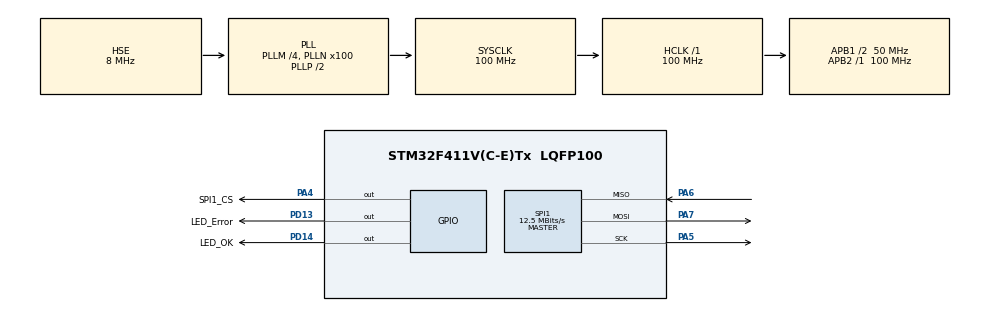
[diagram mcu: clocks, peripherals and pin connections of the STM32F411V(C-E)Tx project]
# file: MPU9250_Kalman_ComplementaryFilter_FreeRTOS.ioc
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FREERTOS.Tasks01=defaultTask,0,128,StartDefaultTask,Default,NULL,Dynamic,NULL,NULL
FREERTOS.configTOTAL_HEAP_SIZE=9000
FREERTOS.configUSE_NEWLIB_REENTRANT=1
Mcu.Family=STM32F4
Mcu.Name=STM32F411V(C-E)Tx
Mcu.Package=LQFP100
NVIC.PriorityGroup=NVIC_PRIORITYGROUP_4
NVIC.TIM1_UP_TIM10_IRQn=true\:15\:0\:false\:false\:true\:false\:false\:true\:true
NVIC.TimeBase=TIM1_UP_TIM10_IRQn
NVIC.TimeBaseIP=TIM10
PA13.Mode=Trace_Asynchronous_SW
PA13.Signal=SYS_JTMS-SWDIO
PA14.Mode=Trace_Asynchronous_SW
PA14.Signal=SYS_JTCK-SWCLK
PA4.GPIO_Label=SPI1_CS
PA4.Signal=GPIO_Output
PA5.Mode=Full_Duplex_Master
PA5.Signal=SPI1_SCK
PA6.Mode=Full_Duplex_Master
PA6.Signal=SPI1_MISO
PA7.Mode=Full_Duplex_Master
PA7.Signal=SPI1_MOSI
PB3.Mode=Trace_Asynchronous_SW
PB3.Signal=SYS_JTDO-SWO
PD13.GPIO_Label=LED_Error
PD13.Signal=GPIO_Output
PD14.GPIO_Label=LED_OK
PD14.Signal=GPIO_Output
PH0\ -\ OSC_IN.Mode=HSE-External-Oscillator
PH0\ -\ OSC_IN.Signal=RCC_OSC_IN
PH1\ -\ OSC_OUT.Mode=HSE-External-Oscillator
PH1\ -\ OSC_OUT.Signal=RCC_OSC_OUT
ProjectManager.HeapSize=0x200
ProjectManager.StackSize=0x400
ProjectManager.TargetToolchain=STM32CubeIDE
RCC.48MHZClocksFreq_Value=50000000
RCC.AHBFreq_Value=100000000
RCC.APB1CLKDivider=RCC_HCLK_DIV2
RCC.APB1Freq_Value=50000000
RCC.APB1TimFreq_Value=100000000
RCC.APB2Freq_Value=100000000
RCC.APB2TimFreq_Value=100000000
RCC.CortexFreq_Value=100000000
RCC.HCLKFreq_Value=100000000
RCC.HSE_VALUE=8000000
RCC.HSI_VALUE=16000000
RCC.LSE_VALUE=32768
RCC.PLLM=4
RCC.PLLN=100
RCC.PLLSourceVirtual=RCC_PLLSOURCE_HSE
RCC.SYSCLKFreq_VALUE=100000000
RCC.SYSCLKSource=RCC_SYSCLKSOURCE_PLLCLK
RCC.VCOOutputFreq_Value=200000000
SPI1.BaudRatePrescaler=SPI_BAUDRATEPRESCALER_8
SPI1.CalculateBaudRate=12.5 MBits/s
SPI1.Direction=SPI_DIRECTION_2LINES
SPI1.Mode=SPI_MODE_MASTER
SPI1.VirtualType=VM_MASTER
VP_FREERTOS_VS_CMSIS_V1.Mode=CMSIS_V1
VP_SYS_VS_tim10.Mode=TIM10
board=custom

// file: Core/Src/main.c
/* USER CODE BEGIN Header */
/**
  ******************************************************************************
  * @file           : main.c
  * @brief          : Main program body
  ******************************************************************************
  * @attention
  *
  * Copyright (c) 2025 STMicroelectronics.
  * All rights reserved.
  *
  * This software is licensed under terms that can be found in the LICENSE file
  * in the root directory of this software component.
  * If no LICENSE file comes with this software, it is provided AS-IS.
  *
  ******************************************************************************
  */
/* USER CODE END Header */
#include "main.h"
#include "cmsis_os.h"

/* USER CODE BEGIN Includes */
#include "HAL_MPU9250.h"
#include "IMU_KalmanFilter.h"
#include "IMU_ComplementaryFilter.h"

#include "stdio.h"
#include "string.h"
#include "math.h"
/* USER CODE END Includes */

/* USER CODE BEGIN PD */
#define KalmanFilter_En					0x00
#define ComplementaryFilter_En			0x01
#define N_KalmanFilter					100
#define N_ComplementaryFilter			200

// <---- --- IMU Defines --- ---->
#define ZERO_MAX				20
#define ZERO_MIN				-20
/* USER CODE END PD */

SPI_HandleTypeDef hspi1;

osThreadId defaultTaskHandle;
/* USER CODE BEGIN PV */
// <---- --- My Tasks Variables --- ---->
osThreadId readRawDataTaskHandle;
osThreadId kalmanFilterTaskHandle;
osThreadId complementaryFilterTaskHandle;

osMessageQId Queue_1Handle;

// <---- --- IMU Variables --- ---->
MPU9250TypeDef MPU9250;
KalmanFilter kf;
ComplementaryFilter cf;

uint8_t IMU_rawData[14] = {0};
typedef struct
{
	int16_t Raw_Accel[3];
	int16_t Raw_Gyro[3];
}IMUdata_t;

float GX = 0, GY = 0, GZ = 0, AX = 0, AY = 0, AZ = 0;
float phi, theta;
float phi_acc_samples[N_KalmanFilter];
float theta_acc_samples[N_KalmanFilter];
/* USER CODE END PV */

void SystemClock_Config(void);
static void MX_GPIO_Init(void);
static void MX_SPI1_Init(void);
void StartDefaultTask(void const * argument);

/* USER CODE BEGIN PFP */
// <---- --- My Tasks Functions --- ---->
void StartReadRawDataTask(void const * argument);
void StartKalmanFilterTask(void const * argument);
void StartComplementaryFilterTask(void const * argument);

// <---- --- IMU Functions --- ---->
void IMU_Init(void);
void IMU_readRawData(void);
void KalmanFilter_Init(void);
void IMU_UpdateAngles(float dt);
/* USER CODE END PFP */

/* USER CODE BEGIN 0 */
// <---- --- SWV Print --- ---->
int _write(int file, char *ptr, int len)
{
	int i = 0;
	for(i = 0; i < len; i++)
	{
		ITM_SendChar(*ptr++);
	}
	return len;
}
/* USER CODE END 0 */

int main(void)
{

  /* MCU Configuration--------------------------------------------------------*/

  /* Reset of all peripherals, Initializes the Flash interface and the Systick. */
  HAL_Init();

  /* Configure the system clock */
  SystemClock_Config();

  /* Initialize all configured peripherals */
  MX_GPIO_Init();
  MX_SPI1_Init();

  /* USER CODE BEGIN RTOS_QUEUES */
  /* add queues, ... */
  osMessageQDef(Queue_1, 1, sizeof(IMUdata_t));
  Queue_1Handle = osMessageCreate(osMessageQ(Queue_1), NULL);
  /* USER CODE END RTOS_QUEUES */

  /* Create the thread(s) */
  /* definition and creation of defaultTask */
  osThreadDef(defaultTask, StartDefaultTask, osPriorityNormal, 0, 128);
  defaultTaskHandle = osThreadCreate(osThread(defaultTask), NULL);

  /* USER CODE BEGIN RTOS_THREADS */
  /* add threads, ... */
  osThreadDef(readRawDataTask, StartReadRawDataTask, osPriorityAboveNormal, 0, 1024);
  readRawDataTaskHandle = osThreadCreate(osThread(readRawDataTask), NULL);
#if KalmanFilter_En
  osThreadDef(kalmanFilterTask, StartKalmanFilterTask, osPriorityNormal, 0, 1024);
  kalmanFilterTaskHandle = osThreadCreate(osThread(kalmanFilterTask), NULL);
#elif ComplementaryFilter_En
  osThreadDef(complementaryFilterTask, StartComplementaryFilterTask, osPriorityNormal, 0, 1024);
  complementaryFilterTaskHandle = osThreadCreate(osThread(complementaryFilterTask), NULL);
#endif
  /* USER CODE END RTOS_THREADS */

  /* Start scheduler */
  osKernelStart();

  /* We should never get here as control is now taken by the scheduler */

  /* Infinite loop */
  while (1)
  {

  }
}

void SystemClock_Config(void)
{
  RCC_OscInitTypeDef RCC_OscInitStruct = {0};
  RCC_ClkInitTypeDef RCC_ClkInitStruct = {0};

  /** Configure the main internal regulator output voltage
  */
  __HAL_RCC_PWR_CLK_ENABLE();
  __HAL_PWR_VOLTAGESCALING_CONFIG(PWR_REGULATOR_VOLTAGE_SCALE1);

  /** Initializes the RCC Oscillators according to the specified parameters
  * in the RCC_OscInitTypeDef structure.
  */
  RCC_OscInitStruct.OscillatorType = RCC_OSCILLATORTYPE_HSE;
  RCC_OscInitStruct.HSEState = RCC_HSE_ON;
  RCC_OscInitStruct.PLL.PLLState = RCC_PLL_ON;
  RCC_OscInitStruct.PLL.PLLSource = RCC_PLLSOURCE_HSE;
  RCC_OscInitStruct.PLL.PLLM = 4;
  RCC_OscInitStruct.PLL.PLLN = 100;
  RCC_OscInitStruct.PLL.PLLP = RCC_PLLP_DIV2;
  RCC_OscInitStruct.PLL.PLLQ = 4;
  if (HAL_RCC_OscConfig(&RCC_OscInitStruct) != HAL_OK)
  {
    Error_Handler();
  }

  /** Initializes the CPU, AHB and APB buses clocks
  */
  RCC_ClkInitStruct.ClockType = RCC_CLOCKTYPE_HCLK|RCC_CLOCKTYPE_SYSCLK
                              |RCC_CLOCKTYPE_PCLK1|RCC_CLOCKTYPE_PCLK2;
  RCC_ClkInitStruct.SYSCLKSource = RCC_SYSCLKSOURCE_PLLCLK;
  RCC_ClkInitStruct.AHBCLKDivider = RCC_SYSCLK_DIV1;
  RCC_ClkInitStruct.APB1CLKDivider = RCC_HCLK_DIV2;
  RCC_ClkInitStruct.APB2CLKDivider = RCC_HCLK_DIV1;

  if (HAL_RCC_ClockConfig(&RCC_ClkInitStruct, FLASH_LATENCY_3) != HAL_OK)
  {
    Error_Handler();
  }
}

static void MX_SPI1_Init(void)
{

  /* SPI1 parameter configuration*/
  hspi1.Instance = SPI1;
  hspi1.Init.Mode = SPI_MODE_MASTER;
  hspi1.Init.Direction = SPI_DIRECTION_2LINES;
  hspi1.Init.DataSize = SPI_DATASIZE_8BIT;
  hspi1.Init.CLKPolarity = SPI_POLARITY_LOW;
  hspi1.Init.CLKPhase = SPI_PHASE_1EDGE;
  hspi1.Init.NSS = SPI_NSS_SOFT;
  hspi1.Init.BaudRatePrescaler = SPI_BAUDRATEPRESCALER_8;
  hspi1.Init.FirstBit = SPI_FIRSTBIT_MSB;
  hspi1.Init.TIMode = SPI_TIMODE_DISABLE;
  hspi1.Init.CRCCalculation = SPI_CRCCALCULATION_DISABLE;
  hspi1.Init.CRCPolynomial = 10;
  if (HAL_SPI_Init(&hspi1) != HAL_OK)
  {
    Error_Handler();
  }

}

static void MX_GPIO_Init(void)
{
  GPIO_InitTypeDef GPIO_InitStruct = {0};

  /* GPIO Ports Clock Enable */
  __HAL_RCC_GPIOH_CLK_ENABLE();
  __HAL_RCC_GPIOA_CLK_ENABLE();
  __HAL_RCC_GPIOD_CLK_ENABLE();
  __HAL_RCC_GPIOB_CLK_ENABLE();

  /*Configure GPIO pin Output Level */
  HAL_GPIO_WritePin(SPI1_CS_GPIO_Port, SPI1_CS_Pin, GPIO_PIN_RESET);

  /*Configure GPIO pin Output Level */
  HAL_GPIO_WritePin(GPIOD, LED_Error_Pin|LED_OK_Pin, GPIO_PIN_RESET);

  /*Configure GPIO pin : SPI1_CS_Pin */
  GPIO_InitStruct.Pin = SPI1_CS_Pin;
  GPIO_InitStruct.Mode = GPIO_MODE_OUTPUT_PP;
  GPIO_InitStruct.Pull = GPIO_NOPULL;
  GPIO_InitStruct.Speed = GPIO_SPEED_FREQ_LOW;
  HAL_GPIO_Init(SPI1_CS_GPIO_Port, &GPIO_InitStruct);

  /*Configure GPIO pins : LED_Error_Pin LED_OK_Pin */
  GPIO_InitStruct.Pin = LED_Error_Pin|LED_OK_Pin;
  GPIO_InitStruct.Mode = GPIO_MODE_OUTPUT_PP;
  GPIO_InitStruct.Pull = GPIO_NOPULL;
  GPIO_InitStruct.Speed = GPIO_SPEED_FREQ_LOW;
  HAL_GPIO_Init(GPIOD, &GPIO_InitStruct);

}

/* USER CODE BEGIN 4 */
void IMU_Init(void)
{
	MPU9250.PWR_MGMT1	= CLKSEL_1;						// CLOCK_SEL_PLL
	MPU9250.PWR_MGMT2	= ENABLE_ALL;					// Enable All Sensors
	MPU9250.Gyro_DLPF   = BW250_D970;
	MPU9250.Accel_DLPF  = BW218_D1880;
	MPU9250.Gyro_Range  = MPU9250_Gyroscope_2000;
	MPU9250.Accel_Range = MPU9250_Accelerometer_16;

	if(MPU9250_Init(&hspi1, SPI1_CS_GPIO_Port, SPI1_CS_Pin, &MPU9250) != MPU9250_RESULT_OK)
	{
		Error_Handler();
	}
}

void IMU_readRawData(void)
{
	IMUdata_t data;
	// <---- ------------ Merging Data to get real IMU data ------------ ---->
	MPU9250_ReadData(&hspi1, IMU_rawData, MPU9250_ACCEL_XOUT_H, 6);
	data.Raw_Accel[0] = (int16_t)(IMU_rawData[0] << 8 | IMU_rawData[1]);
	data.Raw_Accel[1] = (int16_t)(IMU_rawData[2] << 8 | IMU_rawData[3]);
	data.Raw_Accel[2] = (int16_t)(IMU_rawData[4] << 8 | IMU_rawData[5]);

	MPU9250_ReadData(&hspi1, IMU_rawData, MPU9250_GYRO_XOUT_H, 6);
	data.Raw_Gyro[0] = (int16_t)(IMU_rawData[0] << 8 | IMU_rawData[1]);
	data.Raw_Gyro[1] = (int16_t)(IMU_rawData[2] << 8 | IMU_rawData[3]);
	data.Raw_Gyro[2] = (int16_t)(IMU_rawData[4] << 8 | IMU_rawData[5]);

	// <---- ------------ Removing Gyro's Noise around 0 state ------------ ---->
	data.Raw_Gyro[0] = (data.Raw_Gyro[0] <= ZERO_MAX && data.Raw_Gyro[0] >= ZERO_MIN)? 0: data.Raw_Gyro[0];
	data.Raw_Gyro[1] = (data.Raw_Gyro[1] <= ZERO_MAX && data.Raw_Gyro[1] >= ZERO_MIN)? 0: data.Raw_Gyro[1];
	data.Raw_Gyro[2] = (data.Raw_Gyro[2] <= ZERO_MAX && data.Raw_Gyro[2] >= ZERO_MIN)? 0: data.Raw_Gyro[2];

	GX = (float)(data.Raw_Gyro[0] * (2000 / 32768.0));
	GY = (float)(data.Raw_Gyro[1] * (2000 / 32768.0));
	GZ = (float)(data.Raw_Gyro[2] * (2000 / 32768.0));

	AX = (float)(data.Raw_Gyro[0] * (16.0 / 32768.0));
	AY = (float)(data.Raw_Gyro[1] * (16.0 / 32768.0));
	AZ = (float)(data.Raw_Gyro[2] * (16.0 / 32768.0));

	// <---- ------------ Converting Degree to Radian------------ ---->
//	GX = GX / (180.0 / M_PI);
//	GY = GY / (180.0 / M_PI);
//	GZ = GZ / (180.0 / M_PI);

//	printf("AX: %.2f \n", AX);
//	printf("AY: %.2f \n", AY);
//	printf("AZ: %.2f \n", AZ);
//
//	printf("GX: %.2f \n", GX);
//	printf("GY: %.2f \n", GY);
//	printf("GZ: %.2f \n", GZ);
}

void StartReadRawDataTask(void const * argument)
{

//	float dt = 0.0f;
//
//	IMU_Init();
//	Kalman_Init(&kf);
//
//	for(;;)
//	{
//		IMU_readRawData();
//		Kalman_Get_AccelAngles(AZ, AY, AZ, &phi, &theta);
//		Kalman_Calibrate(&kf, phi, theta, N_KalmanFilter);
//
//		Kalman_Update(&kf, GX, GY, GZ, AX, AY, AZ, dt);
//
//		// Get filtered angles
//		float roll  = Kalman_Get_Roll(&kf);
//		float pitch = Kalman_Get_Pitch(&kf);
//
//		printf("roll: %.2f \n", roll);
//		printf("pitch: %.2f \n", pitch);
//
//		osDelay(1);
//	}

	float dt = 0.0f;

	IMU_Init();
	Complementary_Init(&cf);

	for(;;)
	{
		IMU_readRawData();
		Get_GyroBias(&cf, GX, GY, GZ, N_ComplementaryFilter);
		Complementary_Update(&cf, GX, GY, GZ, AX, AY, AZ, dt);

		// Get filtered angles
		float roll  = Complementary_Get_Roll(&cf);
		float pitch = Complementary_Get_Pitch(&cf);

		printf("roll: %.2f \n", roll);
		printf("pitch: %.2f \n", pitch);

		osDelay(1);
	}
}

void StartKalmanFilterTask(void const * argument)
{
	for(;;)
	{
		osDelay(1);
	}
}

void StartComplementaryFilterTask(void const * argument)
{
	for(;;)
	{
		osDelay(1);
	}
}

/* USER CODE END 4 */

void StartDefaultTask(void const * argument)
{
  /* USER CODE BEGIN 5 */
  /* Infinite loop */
  for(;;)
  {
	  HAL_GPIO_TogglePin(LED_OK_GPIO_Port, LED_OK_Pin);
	  osDelay(500);
  }
  /* USER CODE END 5 */
}

void HAL_TIM_PeriodElapsedCallback(TIM_HandleTypeDef *htim)
{
  if (htim->Instance == TIM10)
  {
    HAL_IncTick();
  }
}

void Error_Handler(void)
{
  /* USER CODE BEGIN Error_Handler_Debug */
  /* User can add his own implementation to report the HAL error return state */
  __disable_irq();
  while (1)
  {
	  HAL_GPIO_WritePin(LED_Error_GPIO_Port, LED_Error_Pin, GPIO_PIN_SET);
  }
  /* USER CODE END Error_Handler_Debug */
}
